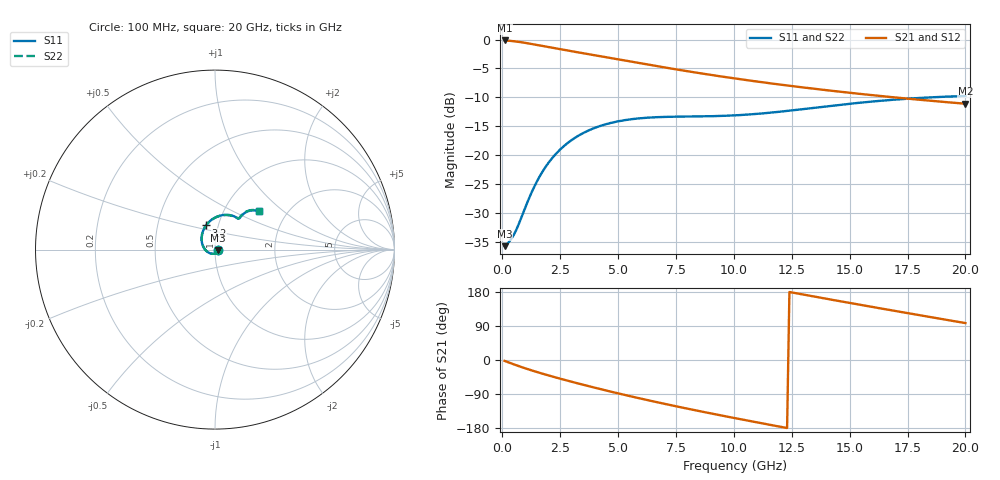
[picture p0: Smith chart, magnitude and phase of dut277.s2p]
! Touchstone file exported from HFSS 2023.1.0
!  File:  D:/Users/fzz/RDL_TSV/temp_RDL_TSV_277_1778762573.aedt
!  Generated:  8:54:13 %x4E0B%x5348  5%x6708 14, 2026
!  Design:  RDL_TSV
!  Project:  temp_RDL_TSV_277_1778762573
!  Setup:  Setup1
!  Solution:  Sweep
! Variables:
!  dtsv = 19.24um
!  hbump = 3um
!  htsv = 66.27um
!  ldown = 396.27um
!  lrdl = 618.55um
!  p = 40
!  p1 = 47.57um
!  rhole = 10um
!  subl = 3663.01um
!  t = 450um
!  tdown = 2.58um
!  trdl = 4.74um
!  viad = 10um
!  wdown = 23.51um
!  wrdl = 20.74um
!  xbump = 18um
# GHz S MA R 50.000000
! Terminal data exported
! Port[1] = TM1_1_T1
! Port[2] = TM1_4_T1
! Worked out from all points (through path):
!   200 points, 100 MHz to 20 GHz, reference 50 ohm
!   highest |S21| = -0.15 dB at 100 MHz (marker M1); lowest = -11.1 dB at 20 GHz (marker M2)
!   group delay of S21, straight-line fit = 34.8 ps
!   lowest |S11| = -35.8 dB at 100 MHz (marker M3), VSWR 1.03, Z = 51.6 - j0.411 ohm
!   |S11| at or under -10 dB: start of sweep to 18.55 GHz
!   |S22| runs from -35.8 to -9.7 dB; largest |S21 - S12| = 8.9e-15
!   S11 on the Smith chart (normalised r, x): 100 MHz: 1.03, -0.01; 3.2 GHz: 0.87, +0.24; 20 GHz: 1.45, +0.69
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0.1  0.01621 -14.2  0.9831 -2.4  0.9831 -2.4  0.01622 -14.2
! Gamma 0 0 0 0
! Port Impedance 50 0 50 0
0.3  0.01777 -45.9  0.9771 -7.0  0.9771 -7.0  0.01778 -45.9
0.5  0.0204 -79.2  0.9681 -11.5  0.9681 -11.5  0.02042 -79.1
0.9  0.0314 -134.8  0.9433 -20.1  0.9433 -20.1  0.03138 -134.7
1.3  0.04905 -171.6  0.9136 -28.0  0.9136 -28.0  0.04893 -171.5
1.8  0.07513 158.2  0.8756 -37.3  0.8756 -37.3  0.07484 158.4
2.4  0.1066 133.6  0.8325 -47.6  0.8325 -47.6  0.1061 133.7
3.2  0.1435 110.6  0.7799 -60.7  0.7799 -60.7  0.1426 110.6
3.5  0.1552 103.7  0.7612 -65.4  0.7612 -65.4  0.1542 103.8
4.2  0.1777 90.4  0.7193 -76.2  0.7193 -76.2  0.1765 90.4
5  0.1958 78.5  0.674 -88.0  0.674 -88.0  0.1943 78.6
5.9  0.2076 68.4  0.6266 -100.8  0.6266 -100.8  0.2059 68.6
6.8  0.2132 61.3  0.5832 -113.0  0.5832 -113.0  0.2113 61.5
7.6  0.215 56.9  0.5482 -123.4  0.5482 -123.4  0.2131 57.2
8.4  0.2159 54.2  0.5165 -133.5  0.5165 -133.5  0.214 54.5
10.1  0.2209 52.1  0.4589 -154.1  0.4589 -154.1  0.2193 52.6
11.7  0.234 52.0  0.4149 -172.6  0.4149 -172.6  0.233 52.6
13.4  0.2555 51.4  0.3764 168.2  0.3764 168.2  0.2551 52.0
15  0.2779 49.7  0.3461 150.6  0.3461 150.6  0.278 50.2
16.7  0.2991 46.9  0.319 132.3  0.319 132.3  0.2997 47.3
18.3  0.3143 44.0  0.2975 115.3  0.2975 115.3  0.3151 44.3
20  0.3247 41.1  0.2783 97.4  0.2783 97.4  0.3256 41.4
